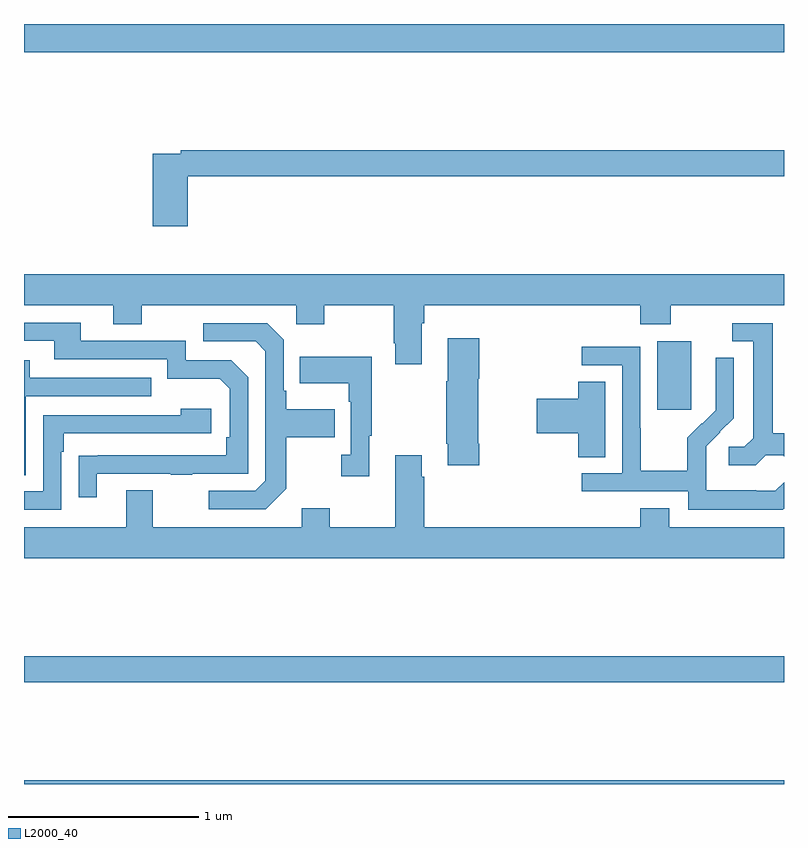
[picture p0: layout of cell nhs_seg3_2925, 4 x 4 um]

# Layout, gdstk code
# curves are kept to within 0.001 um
import gdstk
lib = gdstk.Library(unit=1e-6, precision=1e-09)
def R(c, l, rs):  # rectangles x0, y0, x1, y1
    for r in rs: c.add(gdstk.rectangle(r[:2], r[2:], *l))
def P(c, l, *ps):  # polygons
    for p in ps: c.add(gdstk.Polygon(p, *l))
L2000_40 = (2000, 40)

nhs_seg3_2925 = lib.new_cell('nhs_seg3_2925')
R(nhs_seg3_2925, L2000_40, [(263,694.4,267,694.42), (263,694.936,267,695.072), (266.333,696.369,266.512,696.73), (263,698.252,267,698.4)])
P(nhs_seg3_2925, L2000_40, [(263.861,697.6),(267,697.6),(267,697.736),(263.824,697.736),(263.824,697.716),(263.678,697.716),(263.678,697.335),(263.861,697.335)],
  [(265.093,696.824),(265.106,696.824),(265.106,696.92),(266.243,696.92),(266.243,696.821),(266.403,696.821),(266.403,696.92),(267,696.92),(267,697.084),(263,697.084),(263,696.92),(263.471,696.92),(263.471,696.821),(263.619,696.821),(263.619,696.92),(264.432,696.92),(264.432,696.821),(264.579,696.821),(264.579,696.92),(264.946,696.92),(264.946,696.721),(264.953,696.721),(264.953,696.609),(265.093,696.609)],
  [(263.383,696.033),(263.773,696.033),(263.773,696.028),(263.885,696.028),(263.885,696.033),(264.18,696.033),(264.18,696.54),(264.09,696.63),(263.85,696.63),(263.85,696.732),(263.299,696.732),(263.299,696.828),(263,696.828),(263,696.732),(263.159,696.732),(263.159,696.636),(263.754,696.636),(263.754,696.533),(264.031,696.533),(264.084,696.48),(264.084,696.226),(264.064,696.226),(264.064,696.129),(263.287,696.128),(263.287,695.91),(263.383,695.91)],
  [(264.379,695.953),(264.379,696.226),(264.635,696.226),(264.635,696.373),(264.379,696.373),(264.379,696.469),(264.366,696.469),(264.366,696.738),(264.279,696.825),(263.943,696.825),(263.943,696.729),(264.219,696.729),(264.27,696.678),(264.27,695.997),(264.216,695.943),(263.973,695.943),(263.973,695.847),(264.273,695.847)],
  [(266.904,696.129),(266.998,696.129),(266.998,696.126),(267,696.126),(267,696.245),(266.941,696.245),(266.941,696.825),(266.727,696.825),(266.727,696.729),(266.837,696.729),(266.837,696.221),(266.79,696.174),(266.709,696.174),(266.709,696.077),(266.852,696.077)],
  [(265.397,696.19),(265.392,696.19),(265.392,696.532),(265.397,696.532),(265.397,696.745),(265.229,696.745),(265.229,696.521),(265.222,696.521),(265.222,696.19),(265.229,696.19),(265.229,696.078),(265.397,696.078)],
  [(267,695.85),(267,695.988),(266.955,695.943),(266.855,695.943),(266.855,695.947),(266.592,695.947),(266.592,696.081),(266.59,696.081),(266.59,696.178),(266.736,696.326),(266.736,696.644),(266.64,696.644),(266.64,696.49),(266.642,696.49),(266.642,696.368),(266.571,696.297),(266.568,696.3),(266.491,696.223),(266.491,696.049),(266.247,696.049),(266.247,696.272),(266.244,696.272),(266.244,696.702),(265.935,696.702),(265.935,696.603),(266.148,696.603),(266.148,696.036),(265.935,696.036),(265.935,695.94),(266.496,695.94),(266.496,695.843),(266.993,695.843)],
  [(264.817,696.233),(264.829,696.233),(264.829,696.649),(264.451,696.649),(264.451,696.509),(264.708,696.509),(264.708,696.413),(264.72,696.413),(264.72,696.134),(264.669,696.134),(264.669,696.021),(264.817,696.021)],
  [(263.01,696.441),(263.669,696.441),(263.669,696.537),(263.029,696.537),(263.029,696.631),(263,696.631),(263,696.025),(263.01,696.025)],
  [(266.059,696.518),(265.916,696.518),(265.916,696.428),(265.698,696.428),(265.698,696.245),(265.916,696.245),(265.916,696.121),(266.059,696.121)],
  [(263.196,696.149),(263.209,696.149),(263.209,696.246),(263.986,696.246),(263.986,696.376),(263.825,696.376),(263.825,696.342),(263.1,696.342),(263.1,695.94),(263,695.94),(263,695.844),(263.196,695.844)],
  [(267,695.752),(266.395,695.752),(266.395,695.851),(266.243,695.851),(266.243,695.752),(265.106,695.752),(265.106,696.017),(265.093,696.017),(265.093,696.13),(264.953,696.13),(264.953,695.752),(264.609,695.752),(264.609,695.851),(264.461,695.851),(264.461,695.752),(263.677,695.752),(263.677,695.947),(263.537,695.947),(263.537,695.752),(263,695.752),(263,695.588),(267,695.588)])

lib.write_gds('nhs_seg3_2925.gds')
